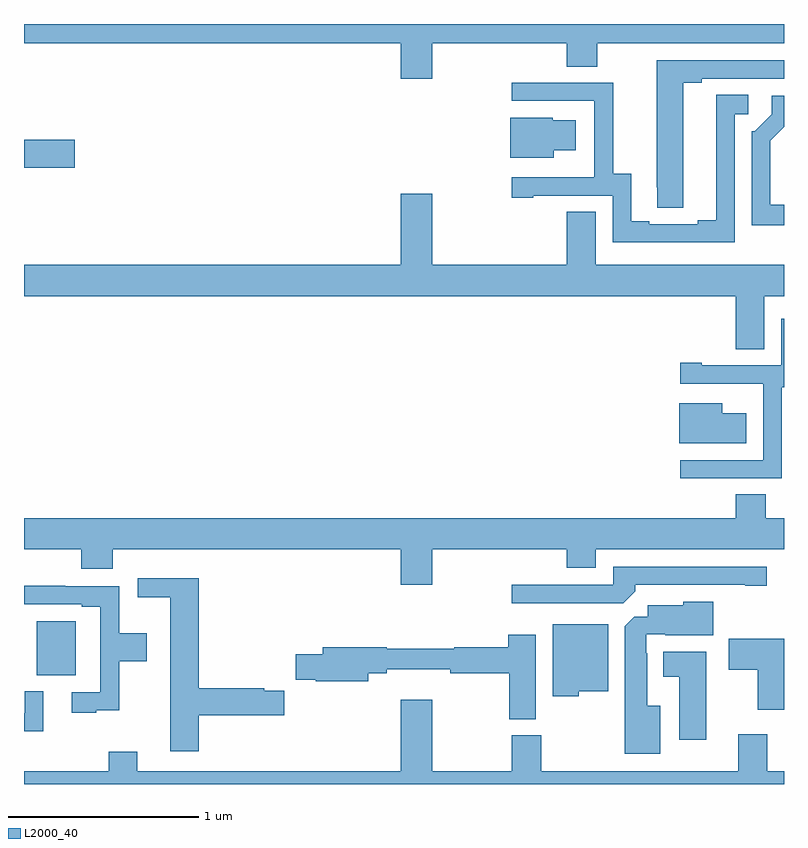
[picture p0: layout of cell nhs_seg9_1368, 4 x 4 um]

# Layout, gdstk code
import gdstk
lib = gdstk.Library(unit=1e-6, precision=1e-09)
def R(c, l, rs):  # rectangles x0, y0, x1, y1
    for r in rs: c.add(gdstk.rectangle(r[:2], r[2:], *l))
def P(c, l, *ps):  # polygons
    for p in ps: c.add(gdstk.Polygon(p, *l))
L2000_40 = (2000, 40)

nhs_seg9_1368 = lib.new_cell('nhs_seg9_1368')
R(nhs_seg9_1368, L2000_40, [(187.067,1213.073,187.273,1213.357), (187,1215.743,187.267,1215.89)])
P(nhs_seg9_1368, L2000_40, [(189.148,1216.4),(189.857,1216.4),(189.857,1216.276),(190.017,1216.276),(190.017,1216.4),(191,1216.4),(191,1216.5),(187,1216.5),(187,1216.4),(188.984,1216.4),(188.984,1216.212),(189.148,1216.212)],
  [(190.471,1216.192),(190.567,1216.192),(190.567,1216.212),(191,1216.212),(191,1216.308),(190.331,1216.308),(190.331,1215.64),(190.332,1215.64),(190.332,1215.532),(190.471,1215.532)],
  [(190.74,1216.026),(190.813,1216.026),(190.813,1216.127),(190.643,1216.127),(190.643,1215.467),(190.547,1215.467),(190.547,1215.447),(190.291,1215.447),(190.291,1215.462),(190.195,1215.462),(190.195,1215.713),(190.101,1215.713),(190.101,1216.191),(189.567,1216.191),(189.567,1216.095),(190.002,1216.095),(190.002,1215.694),(190.001,1215.694),(190.001,1215.693),(189.567,1215.693),(189.567,1215.585),(189.679,1215.585),(189.679,1215.597),(190.098,1215.597),(190.098,1215.351),(190.74,1215.351)],
  [(191,1215.55),(190.927,1215.55),(190.927,1215.886),(191,1215.959),(191,1216.122),(190.935,1216.122),(190.935,1216.026),(190.845,1215.936),(190.83,1215.936),(190.83,1215.44),(191,1215.44)],
  [(189.787,1215.836),(189.904,1215.836),(189.904,1215.994),(189.783,1215.994),(189.783,1216.006),(189.56,1216.006),(189.56,1215.797),(189.787,1215.797)],
  [(190.897,1215.068),(191,1215.068),(191,1215.232),(190.009,1215.232),(190.009,1215.512),(189.857,1215.512),(189.857,1215.232),(189.148,1215.232),(189.148,1215.607),(188.984,1215.607),(188.984,1215.232),(187,1215.232),(187,1215.068),(190.745,1215.068),(190.745,1214.788),(190.897,1214.788)],
  [(190.989,1214.587),(191,1214.587),(191,1214.949),(190.986,1214.949),(190.986,1214.703),(190.567,1214.703),(190.567,1214.716),(190.455,1214.716),(190.455,1214.607),(190.889,1214.607),(190.889,1214.606),(190.89,1214.606),(190.89,1214.205),(190.455,1214.205),(190.455,1214.109),(190.989,1214.109)],
  [(190.801,1214.452),(190.675,1214.452),(190.675,1214.503),(190.448,1214.503),(190.448,1214.294),(190.801,1214.294)],
  [(189.148,1213.736),(189.857,1213.736),(189.857,1213.637),(190.009,1213.637),(190.009,1213.736),(191,1213.736),(191,1213.9),(190.905,1213.9),(190.905,1214.024),(190.745,1214.024),(190.745,1213.9),(187,1213.9),(187,1213.736),(187.301,1213.736),(187.301,1213.634),(187.466,1213.634),(187.466,1213.736),(188.984,1213.736),(188.984,1213.548),(189.148,1213.548)],
  [(190.217,1213.514),(190.217,1213.548),(190.796,1213.548),(190.796,1213.543),(190.909,1213.543),(190.909,1213.644),(190.101,1213.644),(190.101,1213.548),(189.567,1213.548),(189.567,1213.452),(190.155,1213.452)],
  [(187.919,1212.862),(188.369,1212.862),(188.369,1212.992),(188.264,1212.992),(188.264,1213.004),(187.919,1213.004),(187.919,1213.582),(187.599,1213.582),(187.599,1213.484),(187.769,1213.484),(187.769,1212.672),(187.919,1212.672)],
  [(187.379,1212.887),(187.502,1212.887),(187.502,1213.147),(187.645,1213.147),(187.645,1213.294),(187.502,1213.294),(187.502,1213.542),(187.217,1213.542),(187.217,1213.544),(187,1213.544),(187,1213.446),(187.304,1213.446),(187.304,1213.434),(187.401,1213.434),(187.401,1212.984),(187.251,1212.984),(187.251,1212.876),(187.379,1212.876)],
  [(190.348,1212.913),(190.279,1212.913),(190.279,1213.187),(190.275,1213.187),(190.275,1213.287),(190.375,1213.287),(190.375,1213.283),(190.627,1213.283),(190.627,1213.459),(190.47,1213.459),(190.47,1213.441),(190.283,1213.441),(190.283,1213.38),(190.212,1213.38),(190.163,1213.331),(190.163,1212.659),(190.348,1212.659)],
  [(189.921,1212.989),(190.075,1212.989),(190.075,1213.342),(189.782,1213.342),(189.782,1212.962),(189.921,1212.962)],
  [(189.694,1213.285),(189.548,1213.285),(189.548,1213.22),(189.264,1213.22),(189.264,1213.213),(188.908,1213.213),(188.908,1213.22),(188.573,1213.22),(188.573,1213.184),(188.431,1213.184),(188.431,1213.05),(188.536,1213.05),(188.536,1213.042),(188.812,1213.042),(188.812,1213.084),(188.908,1213.084),(188.908,1213.103),(189.244,1213.103),(189.244,1213.084),(189.553,1213.084),(189.553,1212.841),(189.694,1212.841)],
  [(191,1213.264),(190.71,1213.264),(190.71,1213.102),(190.862,1213.102),(190.862,1212.891),(191,1212.891)],
  [(190.591,1213.195),(190.364,1213.195),(190.364,1213.064),(190.448,1213.064),(190.448,1212.732),(190.591,1212.732)],
  [(187.102,1212.988),(187.005,1212.988),(187.005,1212.873),(187,1212.873),(187,1212.777),(187.102,1212.777)],
  [(189.723,1212.756),(189.568,1212.756),(189.568,1212.568),(189.148,1212.568),(189.148,1212.943),(188.984,1212.943),(188.984,1212.568),(187.597,1212.568),(187.597,1212.67),(187.445,1212.67),(187.445,1212.568),(187,1212.568),(187,1212.5),(191,1212.5),(191,1212.568),(190.913,1212.568),(190.913,1212.763),(190.76,1212.763),(190.76,1212.568),(189.723,1212.568)])

lib.write_gds('nhs_seg9_1368.gds')
